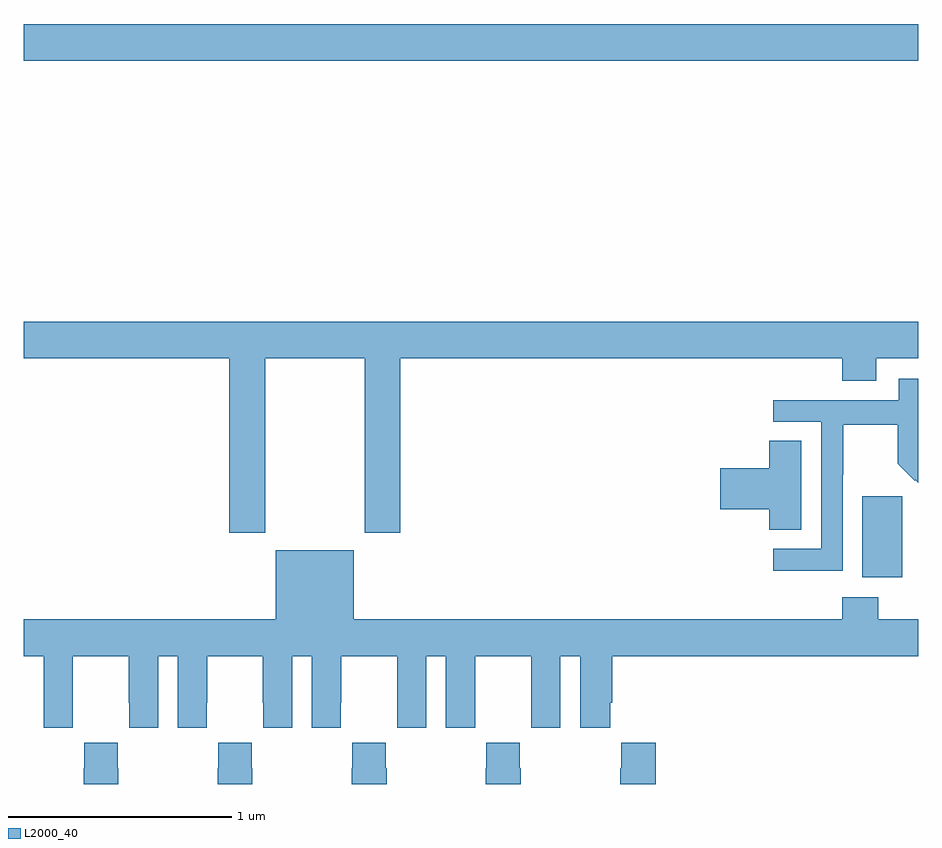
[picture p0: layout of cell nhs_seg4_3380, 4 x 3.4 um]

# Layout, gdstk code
import gdstk
lib = gdstk.Library(unit=1e-6, precision=1e-09)
def R(c, l, rs):  # rectangles x0, y0, x1, y1
    for r in rs: c.add(gdstk.rectangle(r[:2], r[2:], *l))
def P(c, l, *ps):  # polygons
    for p in ps: c.add(gdstk.Polygon(p, *l))
L2000_40 = (2000, 40)

nhs_seg4_3380 = lib.new_cell('nhs_seg4_3380')
R(nhs_seg4_3380, L2000_40, [(292.751,811.826,292.93,812.187), (289,814.136,293,814.3)])
P(nhs_seg4_3380, L2000_40, [(290.079,812.804),(290.524,812.804),(290.524,812.025),(290.684,812.025),(290.684,812.804),(292.661,812.804),(292.661,812.705),(292.813,812.705),(292.813,812.804),(293,812.804),(293,812.968),(289,812.968),(289,812.804),(289.919,812.804),(289.919,812.025),(290.079,812.025)],
  [(292.662,812.284),(292.665,812.284),(292.665,812.508),(292.909,812.508),(292.909,812.333),(292.986,812.256),(292.989,812.259),(293,812.248),(293,812.713),(292.914,812.713),(292.914,812.616),(292.353,812.616),(292.353,812.52),(292.566,812.52),(292.566,811.953),(292.353,811.953),(292.353,811.855),(292.662,811.855)],
  [(292.477,812.435),(292.334,812.435),(292.334,812.312),(292.116,812.312),(292.116,812.129),(292.334,812.129),(292.334,812.038),(292.477,812.038)],
  [(289.218,811.264),(289.219,811.264),(289.219,811.472),(289.469,811.472),(289.469,811.264),(289.47,811.264),(289.47,811.152),(289.6,811.152),(289.6,811.472),(289.688,811.472),(289.688,811.152),(289.818,811.152),(289.818,811.264),(289.819,811.264),(289.819,811.472),(290.069,811.472),(290.069,811.264),(290.07,811.264),(290.07,811.152),(290.2,811.152),(290.2,811.472),(290.288,811.472),(290.288,811.152),(290.418,811.152),(290.418,811.264),(290.419,811.264),(290.419,811.472),(290.669,811.472),(290.669,811.264),(290.67,811.264),(290.67,811.152),(290.8,811.152),(290.8,811.472),(290.888,811.472),(290.888,811.152),(291.018,811.152),(291.018,811.264),(291.019,811.264),(291.019,811.472),(291.269,811.472),(291.269,811.264),(291.27,811.264),(291.27,811.152),(291.4,811.152),(291.4,811.472),(291.488,811.472),(291.488,811.152),(291.622,811.152),(291.622,811.264),(291.632,811.264),(291.632,811.472),(293,811.472),(293,811.636),(292.821,811.636),(292.821,811.735),(292.661,811.735),(292.661,811.636),(290.476,811.636),(290.476,811.945),(290.126,811.945),(290.126,811.636),(289,811.636),(289,811.472),(289.088,811.472),(289.088,811.152),(289.218,811.152)],
  [(290.622,810.971),(290.619,810.971),(290.619,811.084),(290.469,811.084),(290.469,810.971),(290.467,810.971),(290.467,810.9),(290.622,810.9)],
  [(291.222,810.971),(291.219,810.971),(291.219,811.084),(291.069,811.084),(291.069,810.971),(291.067,810.971),(291.067,810.9),(291.222,810.9)],
  [(291.827,811.084),(291.673,811.084),(291.673,810.971),(291.667,810.971),(291.667,810.9),(291.827,810.9)],
  [(290.022,810.971),(290.019,810.971),(290.019,811.084),(289.869,811.084),(289.869,810.971),(289.867,810.971),(289.867,810.9),(290.022,810.9)],
  [(289.422,810.971),(289.419,810.971),(289.419,811.084),(289.269,811.084),(289.269,810.971),(289.267,810.971),(289.267,810.9),(289.422,810.9)])

lib.write_gds('nhs_seg4_3380.gds')
